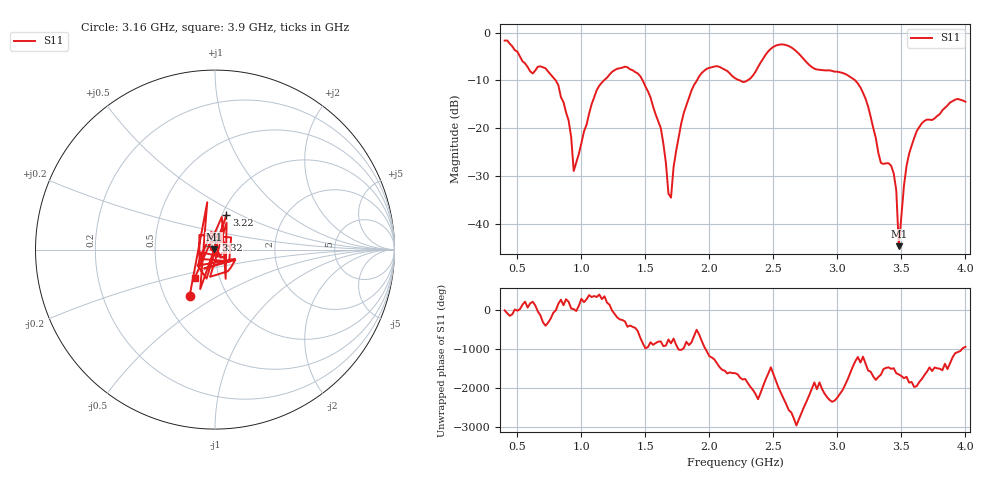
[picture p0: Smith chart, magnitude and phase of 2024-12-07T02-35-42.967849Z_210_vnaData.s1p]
!Created with skrf (http://scikit-rf.org).
# Hz S RI R 50.0
!freq ReS11 ImS11
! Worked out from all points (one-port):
!   181 points, 400 MHz to 4 GHz, reference 50 ohm
!   lowest |S11| = -44.7 dB at 3.48 GHz (marker M1), VSWR 1.01, Z = 49.5 + j0.268 ohm
!   |S11| at or under -10 dB: 799.7 MHz to 1.176 GHz (376.5 MHz wide, 38.1 % of centre); 1.479 GHz to 1.902 GHz (423.9 MHz wide, 25.1 % of centre); 3.14 GHz to end of sweep (the widest 3 of 4)
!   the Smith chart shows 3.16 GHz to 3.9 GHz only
!   S11 on the Smith chart (normalised r, x): 3.16 GHz: 0.67, -0.38; 3.22 GHz: 1.05, +0.42; 3.32 GHz: 1.00, +0.11; 3.9 GHz: 0.76, -0.25
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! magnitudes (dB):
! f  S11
! 400 MHz  -1.7
! 620 MHz  -8.5
! 720 MHz  -7.5
! 860 MHz  -14.5
! 920 MHz  -21.9
! 940 MHz  -29.0
! 1.12 GHz  -12.0
! 1.3 GHz  -7.5
! 1.54 GHz  -13.6
! 1.62 GHz  -20.0
! 1.68 GHz  -33.7
! 1.7 GHz  -34.5
! 1.76 GHz  -21.9
! 1.94 GHz  -8.4
! 2.2 GHz  -9.5
! 2.66 GHz  -3.5
! 3.1 GHz  -9.3
! 3.16 GHz  -10.7
! 3.22 GHz  -13.8
! 3.32 GHz  -25.2
! 3.44 GHz  -29.4
! 3.46 GHz  -33.0
! 3.48 GHz  -44.7
! 3.52 GHz  -32.0
! 3.56 GHz  -25.4
! 3.66 GHz  -19.0
! 3.9 GHz  -14.3
! 4 GHz  -14.5
